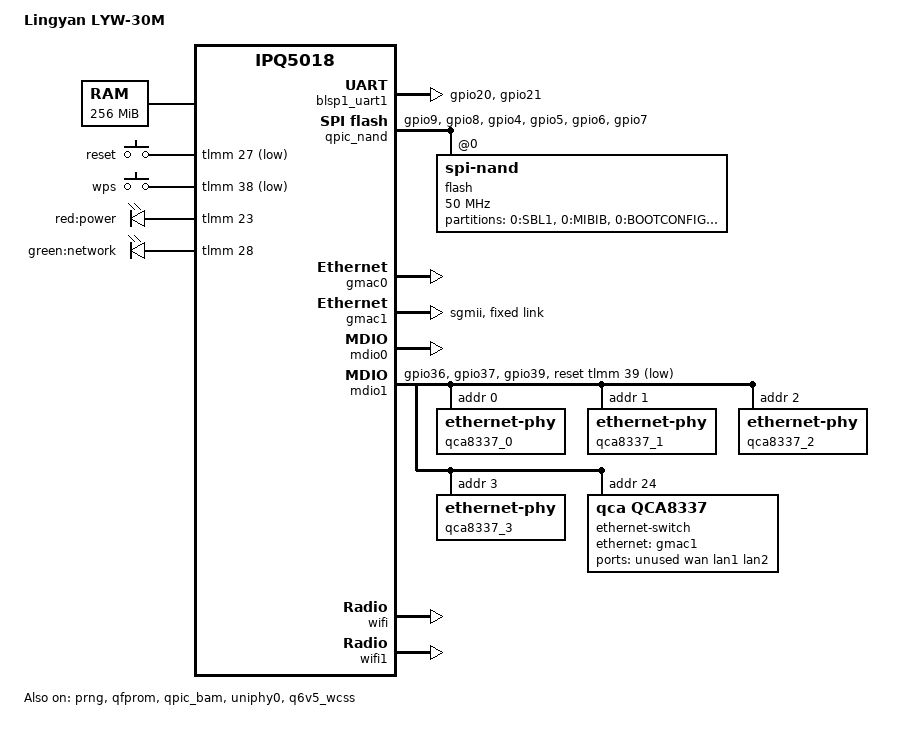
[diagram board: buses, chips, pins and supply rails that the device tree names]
// SPDX-License-Identifier: GPL-2.0-or-later OR MIT
// LYW-30M AX3000_Q06_V2.0_0223: 6.18 RAM validation: stmmac/DSA, native QPIC ECC, every NAND partition read-only.
/dts-v1/;
#include "ipq5018.dtsi"
#include "ipq5018-ess.dtsi"
#include "ipq5018-nss.dtsi"
#include "ipq5018-qcn6122.dtsi"
#include <dt-bindings/gpio/gpio.h>
#include <dt-bindings/input/input.h>

/ {
 model = "Lingyan LYW-30M";
 compatible = "lingyan,lyw-30m", "qcom,ipq5018";
 // The board is known to have 256MiB; do not rely on vendor memory fixups.
 memory@40000000 { reg = <0 0x40000000 0 0x10000000>; };
 reserved-memory {
  q6_region_qcn6122_1: q6-region-qcn6122-1@4d200000 {
   reg = <0 0x4d200000 0 0x00d00000>; no-map;
  };
  m3_dump_qcn6122_1: m3-dump-qcn6122-1@4df00000 {
   reg = <0 0x4df00000 0 0x00100000>; no-map;
  };
 };
 aliases { serial0 = &blsp1_uart1; label-mac-device = <&gmac1>; };
 chosen {
  stdout-path = "serial0:115200n8";
  bootargs-append = " console=ttyMSM0,115200n8 loglevel=6 swiotlb=1 coherent_pool=512K";
 };
 keys {
  compatible = "gpio-keys";
  pinctrl-0 = <&keys_pins>;
  pinctrl-names = "default";
  reset { label = "reset"; gpios = <&tlmm 27 GPIO_ACTIVE_LOW>; linux,code = <KEY_RESTART>; debounce-interval = <60>; };
  wps { label = "wps"; gpios = <&tlmm 38 GPIO_ACTIVE_LOW>; linux,code = <KEY_WPS_BUTTON>; debounce-interval = <60>; };
 };
 leds {
  compatible = "gpio-leds";
  pinctrl-0 = <&led_pins>;
  pinctrl-names = "default";

  led_power: power {
   label = "red:power";
   gpios = <&tlmm 23 GPIO_ACTIVE_HIGH>;
   linux,default-trigger = "default-on";
  };

  led_network: network {
   label = "green:network";
   gpios = <&tlmm 28 GPIO_ACTIVE_HIGH>;
   linux,default-trigger = "none";
  };
 };
};
// 8MiB remains experimental: delayed recovery panic needs a 16MiB control.
// Keep all original reserved ranges while isolating the failure.
&nss_region { reg = <0 0x40000000 0 0x01000000>; };
// This board keeps its original QSEE/secure monitor; retain its full OEM region.
&tz_region { reg = <0 0x4ac00000 0 0x00400000>; };
&sleep_clk { clock-frequency = <32000>; };
&xo_board_clk { clock-div = <4>; clock-mult = <1>; };
&blsp1_uart1 {
 status = "okay";
 pinctrl-0 = <&serial_0_pins>;
 pinctrl-names = "default";
};
&prng { status = "okay"; };
&qfprom { status = "okay"; };
&qpic_bam { status = "okay"; };
&qpic_nand {
 pinctrl-0 = <&qpic_pins>;
 pinctrl-names = "default";
 status = "okay";
 // Retain the previously validated 100MHz QPIC macro rate.
 assigned-clocks = <&gcc GCC_QPIC_IO_MACRO_CLK>;
 assigned-clock-rates = <100000000>;
 flash@0 {
  compatible = "spi-nand";
  reg = <0>;
  spi-max-frequency = <50000000>;
  nand-ecc-engine = <&qpic_nand>;
  nand-ecc-strength = <4>;
  nand-ecc-step-size = <512>;
  nand-bus-width = <8>;
  partitions {
   compatible = "fixed-partitions";
   #address-cells = <1>;
   #size-cells = <1>;
   partition@0 { label = "0:SBL1"; reg = <0x0 0x80000>; read-only; };
   partition@80000 { label = "0:MIBIB"; reg = <0x80000 0x80000>; read-only; };
   partition@100000 { label = "0:BOOTCONFIG"; reg = <0x100000 0x40000>; read-only; };
   partition@140000 { label = "0:BOOTCONFIG1"; reg = <0x140000 0x40000>; read-only; };
   partition@180000 { label = "0:QSEE"; reg = <0x180000 0x100000>; read-only; };
   partition@280000 { label = "0:QSEE_1"; reg = <0x280000 0x100000>; read-only; };
   partition@380000 { label = "0:DEVCFG"; reg = <0x380000 0x40000>; read-only; };
   partition@3c0000 { label = "0:DEVCFG_1"; reg = <0x3c0000 0x40000>; read-only; };
   partition@400000 { label = "0:CDT"; reg = <0x400000 0x40000>; read-only; };
   partition@440000 { label = "0:CDT_1"; reg = <0x440000 0x40000>; read-only; };
   partition@480000 { label = "0:APPSBLENV"; reg = <0x480000 0x80000>; read-only; };
   partition@500000 { label = "0:APPSBL"; reg = <0x500000 0x140000>; read-only; };
   partition@640000 { label = "0:APPSBL_1"; reg = <0x640000 0x140000>; read-only; };
   partition@780000 { label = "0:ART"; reg = <0x780000 0x100000>; read-only;
    nvmem-layout {
     compatible = "fixed-layout"; #address-cells = <1>; #size-cells = <1>;
     ge_mac: mac-address@0 { compatible = "mac-base"; reg = <0 6>; #nvmem-cell-cells = <1>; };
     switch_mac: mac-address@6 { compatible = "mac-base"; reg = <6 6>; #nvmem-cell-cells = <1>; };
    };
 };
   partition@880000 { label = "0:TRAINING"; reg = <0x880000 0x80000>; read-only; };
   // All NAND after the boot chain and calibration belongs to one OpenWrt UBI.
   rootfs_part: partition@900000 { label = "rootfs"; reg = <0x900000 0x7700000>; read-only; };
  };
 };
};
&gmac0 {
 status = "okay";
 label = "lan3";
 nvmem-cells = <&ge_mac 0>; nvmem-cell-names = "mac-address";
};
&gmac1 {
 status = "okay";
 phy-mode = "sgmii";
 nvmem-cells = <&switch_mac 0>; nvmem-cell-names = "mac-address";
 fixed-link { speed = <1000>; full-duplex; };
};
&uniphy0 {
 status = "okay";
 assigned-clocks = <&uniphy0 UNIPHY_CLK_REF>;
 assigned-clock-rates = <UNIPHY_REFCLK_25MHZ>;
};
&mdio0 { status = "okay"; };
&mdio1 {
 status = "okay";
 pinctrl-0 = <&mdio1_pins>, <&switch_reset_pins>;
 pinctrl-names = "default";
 reset-gpios = <&tlmm 39 GPIO_ACTIVE_LOW>;
 // Validated QCA8337 reset timing.
 reset-delay-us = <10000>;
 reset-post-delay-us = <10000>;
 qca8337_0: ethernet-phy@0 { reg = <0>; };
 qca8337_1: ethernet-phy@1 { reg = <1>; };
 qca8337_2: ethernet-phy@2 { reg = <2>; };
 qca8337_3: ethernet-phy@3 { reg = <3>; };
 ethernet-switch@18 {
  compatible = "qca,qca8337";
  reg = <0x18>;
  #address-cells = <1>; #size-cells = <0>;
  ports {
   #address-cells = <1>; #size-cells = <0>;
   // External mapping: p2=WAN, p3=LAN1, p4=LAN2; dp1/ge=LAN3; p1 is unexposed.
   port@1 { reg = <1>; label = "unused"; phy-handle = <&qca8337_0>; status = "disabled"; };
   port@2 { reg = <2>; label = "wan"; phy-handle = <&qca8337_1>; };
   port@3 { reg = <3>; label = "lan1"; phy-handle = <&qca8337_2>; };
   port@4 { reg = <4>; label = "lan2"; phy-handle = <&qca8337_3>; };
   port@6 {
    reg = <6>; phy-mode = "sgmii"; ethernet = <&gmac1>; qca,sgmii-enable-pll;
    fixed-link { speed = <1000>; full-duplex; };
   };
  };
 };
};
&tlmm {
 keys_pins: keys-state { pins = "gpio27", "gpio38"; function = "gpio"; drive-strength = <8>; bias-pull-up; };
 led_pins: led-state { pins = "gpio23", "gpio28"; function = "gpio"; drive-strength = <8>; bias-disable; };
 serial_0_pins: uart0-state { pins = "gpio20", "gpio21"; function = "blsp0_uart0"; bias-disable; };
 mdio1_pins: mdio-state {
  mdc-pins { pins = "gpio36"; function = "mdc"; drive-strength = <8>; bias-pull-up; };
  mdio-pins { pins = "gpio37"; function = "mdio"; drive-strength = <8>; bias-pull-up; };
 };
 switch_reset_pins: switch-reset-state { pins = "gpio39"; function = "gpio"; drive-strength = <8>; bias-pull-down; };
 qpic_pins: qpic-state {
  clock-pins { pins = "gpio9"; function = "qspi_clk"; drive-strength = <8>; bias-disable; };
  cs-pins { pins = "gpio8"; function = "qspi_cs"; drive-strength = <8>; bias-disable; };
  data-pins { pins = "gpio4", "gpio5", "gpio6", "gpio7"; function = "qspi_data"; drive-strength = <8>; bias-disable; };
 };
};
// OEM uses GPIO18 for the integrated QCN6102 endpoint reset; never copy PZ-L8 GPIO27.
&q6v5_wcss {
 status = "okay";
 boot-args = <0x2 4 2 18 0 0>;
};
&wifi {
 status = "okay";
 qcom,rproc = <&q6v5_wcss>;
 qcom,ath11k-calibration-variant = "LINGYAN-LYW-30M";
 qcom,ath11k-fw-memory-mode = <2>;
 qcom,bdf-addr = <0x4c400000>;
 ieee80211-freq-limit = <2400000 2483000>;
};
&wifi1 {
 memory-region = <&q6_region_qcn6122_1>, <&q6_region_ipq5018>, <&m3_dump_qcn6122_1>;
 memory-region-names = "q6-region", "m3-region", "m3-dump";
 status = "okay";
 qcom,rproc = <&q6v5_wcss>;
 qcom,ath11k-calibration-variant = "LINGYAN-LYW-30M";
 qcom,ath11k-fw-memory-mode = <2>;
 qcom,bdf-addr = <0x4d100000>;
 qcom,m3-dump-addr = <0x4df00000>;
 ieee80211-freq-limit = <5150000 5895000>;
};

// Match the WCSS SMP2P restart handshake used by the OEM firmware.
&wcss_smp2p_out { qcom,smp2p-feature-ssr-ack; };
